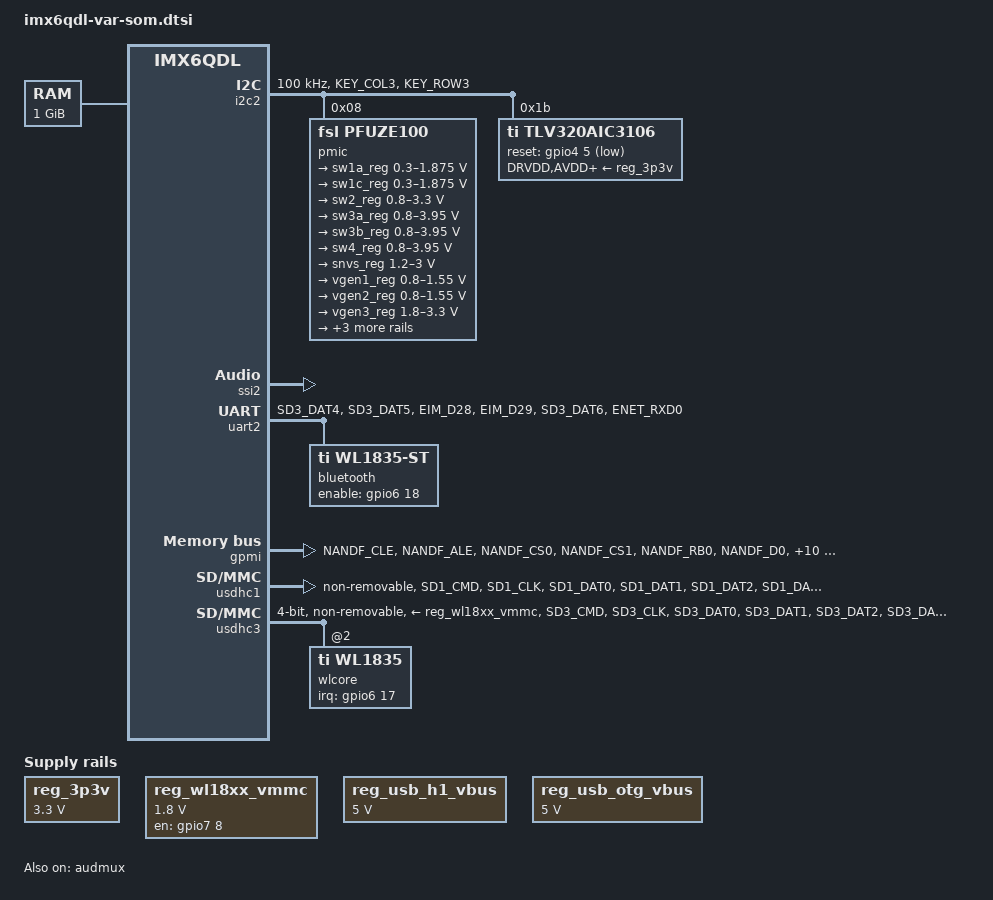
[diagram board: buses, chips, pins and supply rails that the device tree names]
// SPDX-License-Identifier: (GPL-2.0+ OR MIT)
/*
 * Support for Variscite SOM Module
 *
 * Copyright 2018
 * Author: Andreas Müller <schnitzeltony@gmail.com>
 * Based on imx6qdl-var-dart.dtsi
 */

#include <dt-bindings/gpio/gpio.h>
#include <dt-bindings/sound/fsl-imx-audmux.h>

/ {
	memory@10000000 {
		reg = <0x10000000 0x40000000>;
	};

	reg_3p3v: regulator-3p3v {
		compatible = "regulator-fixed";
		regulator-name = "3P3V";
		regulator-min-microvolt = <3300000>;
		regulator-max-microvolt = <3300000>;
		regulator-always-on;
	};

	reg_wl18xx_vmmc: regulator-wl18xx {
		compatible = "regulator-fixed";
		regulator-name = "vwl1807";
		regulator-min-microvolt = <1800000>;
		regulator-max-microvolt = <1800000>;
		gpio = <&gpio7 8 GPIO_ACTIVE_HIGH>;
		enable-active-high;
		startup-delay-us = <70000>;
	};

	reg_usb_h1_vbus: regulator-usbh1vbus {
		compatible = "regulator-fixed";
		regulator-name = "usb_h1_vbus";
		regulator-min-microvolt = <5000000>;
		regulator-max-microvolt = <5000000>;
	};

	reg_usb_otg_vbus: regulator-usbotgvbus {
		compatible = "regulator-fixed";
		regulator-name = "usb_otg_vbus";
		regulator-min-microvolt = <5000000>;
		regulator-max-microvolt = <5000000>;
	};
};

&iomuxc {
	pinctrl_audmux: audmux {
		fsl,pins = <
			MX6QDL_PAD_CSI0_DAT7__AUD3_RXD		0x130b0
			MX6QDL_PAD_CSI0_DAT4__AUD3_TXC		0x130b0
			MX6QDL_PAD_CSI0_DAT5__AUD3_TXD		0x110b0
			MX6QDL_PAD_CSI0_DAT6__AUD3_TXFS		0x130b0
			/* Audio Clock */
			MX6QDL_PAD_GPIO_0__CCM_CLKO1		0x130b0
			/* Audio reset */
			MX6QDL_PAD_GPIO_19__GPIO4_IO05		0x178b0
		>;
	};

	pinctrl_bt: bt {
		fsl,pins = <
			/* Bluetooth / Wifi enable */
			MX6QDL_PAD_SD3_DAT6__GPIO6_IO18		0x1b0b1
			/* Bluetooth Slow Clock */
			MX6QDL_PAD_ENET_RXD0__OSC32K_32K_OUT	0x000b0
		>;
	};

	pinctrl_ecspi3: ecspi3grp {
		fsl,pins = <
			MX6QDL_PAD_DISP0_DAT2__ECSPI3_MISO	0x100b1
			MX6QDL_PAD_DISP0_DAT1__ECSPI3_MOSI	0x100b1
			MX6QDL_PAD_DISP0_DAT0__ECSPI3_SCLK	0x100b1
			MX6QDL_PAD_DISP0_DAT3__GPIO4_IO24	0x178b0 /* CS */
		>;
	};

	pinctrl_enet: enetgrp {
		fsl,pins = <
			MX6QDL_PAD_ENET_MDIO__ENET_MDIO		0x100b0
			MX6QDL_PAD_ENET_MDC__ENET_MDC		0x100b0
			MX6QDL_PAD_RGMII_TXC__RGMII_TXC		0x10030
			MX6QDL_PAD_RGMII_TD0__RGMII_TD0		0x10030
			MX6QDL_PAD_RGMII_TD1__RGMII_TD1		0x10030
			MX6QDL_PAD_RGMII_TD2__RGMII_TD2		0x10030
			MX6QDL_PAD_RGMII_TD3__RGMII_TD3		0x10030
			MX6QDL_PAD_RGMII_TX_CTL__RGMII_TX_CTL	0x10030
			MX6QDL_PAD_ENET_REF_CLK__ENET_TX_CLK	0x100b0
			MX6QDL_PAD_RGMII_RXC__RGMII_RXC		0x1b030
			MX6QDL_PAD_RGMII_RD0__RGMII_RD0		0x1b030
			MX6QDL_PAD_RGMII_RD1__RGMII_RD1		0x1b030
			MX6QDL_PAD_RGMII_RD2__RGMII_RD2		0x1b030
			MX6QDL_PAD_RGMII_RD3__RGMII_RD3		0x1b030
			MX6QDL_PAD_RGMII_RX_CTL__RGMII_RX_CTL	0x1b030
		>;
	};

	pinctrl_flexcan1: flexcan1grp {
		fsl,pins = <
			MX6QDL_PAD_GPIO_7__FLEXCAN1_TX	0x1b0b0
			MX6QDL_PAD_GPIO_8__FLEXCAN1_RX	0x1b0b0
		>;
	};

	pinctrl_flexcan2: flexcan2grp {
		fsl,pins = <
			MX6QDL_PAD_KEY_COL4__FLEXCAN2_TX	0x1b0b0
			MX6QDL_PAD_KEY_ROW4__FLEXCAN2_RX	0x1b0b0
		>;
	};

	pinctrl_hdmicec: hdmicecgrp {
		fsl,pins = <
			MX6QDL_PAD_KEY_ROW2__HDMI_TX_CEC_LINE	0x1f8b0
		>;
	};

	pinctrl_i2c1: i2c1grp {
		fsl,pins = <
			MX6QDL_PAD_CSI0_DAT8__I2C1_SDA	0x4001b8b1
			MX6QDL_PAD_CSI0_DAT9__I2C1_SCL	0x4001b8b1
		>;
	};

	pinctrl_i2c2: i2c2grp {
		fsl,pins = <
			MX6QDL_PAD_KEY_COL3__I2C2_SCL	0x4001b8b1
			MX6QDL_PAD_KEY_ROW3__I2C2_SDA	0x4001b8b1
		>;
	};

	pinctrl_i2c3: i2c3grp {
		fsl,pins = <
			MX6QDL_PAD_GPIO_5__I2C3_SCL	0x4001b8b1
			MX6QDL_PAD_GPIO_16__I2C3_SDA	0x4001b8b1
		>;
	};

	pinctrl_pmic: pmicgrp {
		fsl,pins = <
			/* PMIC INT */
			MX6QDL_PAD_GPIO_17__GPIO7_IO12	0x1b0b1
		>;
	};

	pinctrl_pwm2: pwm2grp {
		fsl,pins = <
			MX6QDL_PAD_DISP0_DAT9__PWM2_OUT	0x1b0b1
		>;
	};

	pinctrl_uart1: uart1grp {
		fsl,pins = <
			MX6QDL_PAD_CSI0_DAT10__UART1_TX_DATA 0x1b0b1
			MX6QDL_PAD_CSI0_DAT11__UART1_RX_DATA 0x1b0b1
		>;
	};

	pinctrl_uart2: uart2grp {
		fsl,pins = <
			MX6QDL_PAD_SD3_DAT4__UART2_RX_DATA	0x1b0b1
			MX6QDL_PAD_SD3_DAT5__UART2_TX_DATA	0x1b0b1
			MX6QDL_PAD_EIM_D28__UART2_CTS_B		0x1b0b1
			MX6QDL_PAD_EIM_D29__UART2_RTS_B		0x1b0b1
		>;
	};

	pinctrl_uart3: uart3grp {
		fsl,pins = <
			MX6QDL_PAD_EIM_D25__UART3_RX_DATA 0x1b0b1
			MX6QDL_PAD_EIM_D24__UART3_TX_DATA 0x1b0b1
			MX6QDL_PAD_EIM_D23__UART3_CTS_B   0x1b0b1
			MX6QDL_PAD_EIM_EB3__UART3_RTS_B   0x1b0b1
		>;
	};

	pinctrl_usbotg: usbotggrp {
		fsl,pins = <
			MX6QDL_PAD_GPIO_4__GPIO1_IO04 		0x17059
		>;
	};

	pinctrl_usdhc1: usdhc1grp {
		fsl,pins = <
			MX6QDL_PAD_SD1_CMD__SD1_CMD	0x17059
			MX6QDL_PAD_SD1_CLK__SD1_CLK	0x10059
			MX6QDL_PAD_SD1_DAT0__SD1_DATA0	0x17059
			MX6QDL_PAD_SD1_DAT1__SD1_DATA1	0x17059
			MX6QDL_PAD_SD1_DAT2__SD1_DATA2	0x17059
			MX6QDL_PAD_SD1_DAT3__SD1_DATA3	0x17059
		>;
	};

	pinctrl_usdhc2: usdhc2grp {
		fsl,pins = <
			MX6QDL_PAD_SD2_CMD__SD2_CMD	0x17059
			MX6QDL_PAD_SD2_CLK__SD2_CLK	0x10059
			MX6QDL_PAD_SD2_DAT0__SD2_DATA0	0x17059
			MX6QDL_PAD_SD2_DAT1__SD2_DATA1	0x17059
			MX6QDL_PAD_SD2_DAT2__SD2_DATA2	0x17059
			MX6QDL_PAD_SD2_DAT3__SD2_DATA3	0x17059
		>;
	};

	pinctrl_usdhc3: usdhc3grp {
		fsl,pins = <
			MX6QDL_PAD_SD3_CMD__SD3_CMD	0x17059
			MX6QDL_PAD_SD3_CLK__SD3_CLK	0x10059
			MX6QDL_PAD_SD3_DAT0__SD3_DATA0	0x17059
			MX6QDL_PAD_SD3_DAT1__SD3_DATA1	0x17059
			MX6QDL_PAD_SD3_DAT2__SD3_DATA2	0x17059
			MX6QDL_PAD_SD3_DAT3__SD3_DATA3	0x17059
			/* WL_EN */
			MX6QDL_PAD_SD3_DAT7__GPIO6_IO17 0x13059
			/* WL_IRQ */
			MX6QDL_PAD_SD3_RST__GPIO7_IO08  0x13059
		>;
	};

	pinctrl_usdhc3_100mhz: usdhc3grp100mhz {
		fsl,pins = <
			MX6QDL_PAD_SD3_CMD__SD3_CMD	0x170B9
			MX6QDL_PAD_SD3_CLK__SD3_CLK	0x100B9
			MX6QDL_PAD_SD3_DAT0__SD3_DATA0	0x170B9
			MX6QDL_PAD_SD3_DAT1__SD3_DATA1	0x170B9
			MX6QDL_PAD_SD3_DAT2__SD3_DATA2	0x170B9
			MX6QDL_PAD_SD3_DAT3__SD3_DATA3	0x170B9
			/* WL_EN */
			MX6QDL_PAD_SD3_DAT7__GPIO6_IO17 0x130B9
			/* WL_IRQ */
			MX6QDL_PAD_SD3_RST__GPIO7_IO08  0x130B9
		>;
	};

	pinctrl_usdhc3_200mhz: usdhc3grp200mhz {
		fsl,pins = <
			MX6QDL_PAD_SD3_CMD__SD3_CMD	0x170F9
			MX6QDL_PAD_SD3_CLK__SD3_CLK	0x100F9
			MX6QDL_PAD_SD3_DAT0__SD3_DATA0	0x170F9
			MX6QDL_PAD_SD3_DAT1__SD3_DATA1	0x170F9
			MX6QDL_PAD_SD3_DAT2__SD3_DATA2	0x170F9
			MX6QDL_PAD_SD3_DAT3__SD3_DATA3	0x170F9
			/* WL_EN */
			MX6QDL_PAD_SD3_DAT7__GPIO6_IO17 0x130F9
			/* WL_IRQ */
			MX6QDL_PAD_SD3_RST__GPIO7_IO08  0x130F9
		>;
	};

	pinctrl_gpmi_nand: gpmi-nand {
		fsl,pins = <
			MX6QDL_PAD_NANDF_CLE__NAND_CLE		0xb0b1
			MX6QDL_PAD_NANDF_ALE__NAND_ALE		0xb0b1
			MX6QDL_PAD_NANDF_CS0__NAND_CE0_B	0xb0b1
			MX6QDL_PAD_NANDF_CS1__NAND_CE1_B	0xb0b1
			MX6QDL_PAD_NANDF_RB0__NAND_READY_B	0xb0b1
			MX6QDL_PAD_NANDF_D0__NAND_DATA00	0xb0b1
			MX6QDL_PAD_NANDF_D1__NAND_DATA01	0xb0b1
			MX6QDL_PAD_NANDF_D2__NAND_DATA02	0xb0b1
			MX6QDL_PAD_NANDF_D3__NAND_DATA03	0xb0b1
			MX6QDL_PAD_NANDF_D4__NAND_DATA04	0xb0b1
			MX6QDL_PAD_NANDF_D5__NAND_DATA05	0xb0b1
			MX6QDL_PAD_NANDF_D6__NAND_DATA06	0xb0b1
			MX6QDL_PAD_NANDF_D7__NAND_DATA07	0xb0b1
			MX6QDL_PAD_SD4_CMD__NAND_RE_B		0xb0b1
			MX6QDL_PAD_SD4_CLK__NAND_WE_B		0xb0b1
			MX6QDL_PAD_NANDF_WP_B__NAND_WP_B	0xb0b1
		>;
	};
};

&audmux {
	pinctrl-names = "default";
	pinctrl-0 = <&pinctrl_audmux>;
	status = "okay";

	ssi2 {
		fsl,audmux-port = <1>;
		fsl,port-config = <
			(IMX_AUDMUX_V2_PTCR_SYN |
			IMX_AUDMUX_V2_PTCR_TFSDIR |
			IMX_AUDMUX_V2_PTCR_TFSEL(2) |
			IMX_AUDMUX_V2_PTCR_TCLKDIR |
			IMX_AUDMUX_V2_PTCR_TCSEL(2))
			IMX_AUDMUX_V2_PDCR_RXDSEL(2)
		>;
	};

	aud3 {
		fsl,audmux-port = <2>;
		fsl,port-config = <
			IMX_AUDMUX_V2_PTCR_SYN
			IMX_AUDMUX_V2_PDCR_RXDSEL(1)
		>;
	};
};

&can1 {
	pinctrl-names = "default";
	pinctrl-0 = <&pinctrl_flexcan1>;
	status = "disabled";
};

&can2 {
	pinctrl-names = "default";
	pinctrl-0 = <&pinctrl_flexcan2>;
	status = "disabled";
};

&ecspi3 {
	pinctrl-names = "default";
	fsl,spi-num-chipselects = <1>;
	pinctrl-0 = <&pinctrl_ecspi3>;
	cs-gpios = <&gpio4 24 0>;
	status = "disabled";
};

&fec {
	pinctrl-names = "default";
	pinctrl-0 = <&pinctrl_enet>;
	phy-mode = "rgmii";
	phy-reset-gpios = <&gpio1 25 0>;
	phy-reset-duration=<100>;
	status = "disabled";
};

&hdmi {
	pinctrl-names = "default";
	pinctrl-0 = <&pinctrl_hdmicec>;
	ddc-i2c-bus = <&i2c2>;
	status = "disabled";
};

&i2c1 {
	pinctrl-names = "default";
	pinctrl-0 = <&pinctrl_i2c1>;
	status = "disabled";
};

&i2c2 {
	clock-frequency = <100000>;
	pinctrl-names = "default";
	pinctrl-0 = <&pinctrl_i2c2>;
	status = "okay";

	pmic@8 {
		pinctrl-names = "default";
		pinctrl-0 = <&pinctrl_pmic>;
		compatible = "fsl,pfuze100";
		reg = <0x08>;

		regulators {
			sw1a_reg: sw1ab {
				regulator-min-microvolt = <300000>;
				regulator-max-microvolt = <1875000>;
				regulator-boot-on;
				regulator-always-on;
				regulator-ramp-delay = <6250>;
			};

			sw1c_reg: sw1c {
				regulator-min-microvolt = <300000>;
				regulator-max-microvolt = <1875000>;
				regulator-boot-on;
				regulator-always-on;
				regulator-ramp-delay = <6250>;
			};

			sw2_reg: sw2 {
				regulator-min-microvolt = <800000>;
				regulator-max-microvolt = <3300000>;
				regulator-boot-on;
				regulator-always-on;
			};

			sw3a_reg: sw3a {
				regulator-min-microvolt = <800000>;
				regulator-max-microvolt = <3950000>;
				regulator-boot-on;
				regulator-always-on;
			};

			sw3b_reg: sw3b {
				regulator-min-microvolt = <800000>;
				regulator-max-microvolt = <3950000>;
				regulator-boot-on;
				regulator-always-on;
			};

			sw4_reg: sw4 {
				regulator-min-microvolt = <800000>;
				regulator-max-microvolt = <3950000>;
			};

			snvs_reg: vsnvs {
				regulator-min-microvolt = <1200000>;
				regulator-max-microvolt = <3000000>;
				regulator-boot-on;
				regulator-always-on;
			};

			vref_reg: vrefddr {
				regulator-boot-on;
				regulator-always-on;
			};

			vgen1_reg: vgen1 {
				regulator-min-microvolt = <800000>;
				regulator-max-microvolt = <1550000>;
			};

			vgen2_reg: vgen2 {
				regulator-min-microvolt = <800000>;
				regulator-max-microvolt = <1550000>;
			};

			vgen3_reg: vgen3 {
				regulator-min-microvolt = <1800000>;
				regulator-max-microvolt = <3300000>;
				regulator-always-on;
				regulator-boot-on;
			};

			vgen4_reg: vgen4 {
				regulator-min-microvolt = <1800000>;
				regulator-max-microvolt = <3300000>;
				regulator-always-on;
				regulator-boot-on;
			};

			vgen5_reg: vgen5 {
				regulator-min-microvolt = <1800000>;
				regulator-max-microvolt = <3300000>;
				regulator-always-on;
				regulator-boot-on;
			};

			vgen6_reg: vgen6 {
				regulator-min-microvolt = <2800000>;
				regulator-max-microvolt = <2800000>;
				regulator-always-on;
				regulator-boot-on;
			};
		};
	};

	tlv320aic3106: codec@1b {
		compatible = "ti,tlv320aic3106";
		reg = <0x1b>;
		#sound-dai-cells = <0>;
		DRVDD-supply = <&reg_3p3v>;
		AVDD-supply = <&reg_3p3v>;
		IOVDD-supply = <&reg_3p3v>;
		DVDD-supply = <&reg_3p3v>;
		ai3x-ocmv = <0>;
		reset-gpios = <&gpio4 5 GPIO_ACTIVE_LOW>;
		ai3x-gpio-func = <
			0 /* AIC3X_GPIO1_FUNC_DISABLED */
			5 /* AIC3X_GPIO2_FUNC_DIGITAL_MIC_INPUT */
		>;
	};
};

&i2c3 {
	pinctrl-names = "default";
	pinctrl-0 = <&pinctrl_i2c3>;
	status = "disabled";
};

&pcie {
	fsl,tx-swing-full = <103>;
	fsl,tx-swing-low = <103>;
	reset-gpio = <&gpio4 11 GPIO_ACTIVE_LOW>;
	status = "disabled";
};

&pwm2 {
	pinctrl-names = "default";
	pinctrl-0 = <&pinctrl_pwm2>;
	status = "disabled";
};

&reg_arm {
	vin-supply = <&sw1a_reg>;
};

&reg_pu {
	vin-supply = <&sw1c_reg>;
};

&reg_soc {
	vin-supply = <&sw1c_reg>;
};

&snvs_poweroff {
	status = "okay";
};

&ssi2 { /* Onboard audio */
	fsl,mode = "i2s-slave";
	status = "okay";
};

&uart1 { /* Console */
	pinctrl-names = "default";
	pinctrl-0 = <&pinctrl_uart1>;
	status = "disabled";
};

&uart2 { /* Bluetooth */
	pinctrl-names = "default";
	pinctrl-0 = <&pinctrl_uart2 &pinctrl_bt>;
	uart-has-rtscts;
	status = "okay";

	bluetooth {
		compatible = "ti,wl1835-st";
		enable-gpios = <&gpio6 18 GPIO_ACTIVE_HIGH>;
	};
};

&uart3 {
	pinctrl-names = "default";
	pinctrl-0 = <&pinctrl_uart3>;
	uart-has-rtscts;
	status = "disabled";
};

&usbh1 {
	vbus-supply = <&reg_usb_h1_vbus>;
	status = "disabled";
};

&usbotg {
	vbus-supply = <&reg_usb_otg_vbus>;
	pinctrl-names = "default";
	pinctrl-0 = <&pinctrl_usbotg>;
	disable-over-current;
	status = "disabled";
};

&gpmi { /* NAND */
	pinctrl-names = "default";
	pinctrl-0 = <&pinctrl_gpmi_nand>;
	fsl,legacy-bch-geometry;
	status = "okay";

	/* a 2 MiB partition */
	partition@0 {
		label = "spl";
		reg = <0x00000000 0x00200000>;
	};

	/* a 2 MiB partition */
	partition@1 {
		label = "bootloader";
		reg = <0x00200000 0x00200000>;
	};

	/* an 8 MiB partition */
	partition@2 {
		label = "kernel";
		reg = <0x00400000 0x00800000>;
	};

	/* max 1012 MiB partition - truncated automatically */
	partition@3 {
		label = "rootfs";
		reg = <0x00c00000 0x3f400000>;
	};
};

&usdhc1 { /* eMMC */
	pinctrl-names = "default";
	pinctrl-0 = <&pinctrl_usdhc1>;
	keep-power-in-suspend;
	wakeup-source;
	non-removable;
	status = "okay";
};

&usdhc2 { /* MMC/SD card */
	pinctrl-names = "default";
	pinctrl-0 = <&pinctrl_usdhc2>;
	no-1-8-v;
	keep-power-in-suspend;
	wakeup-source;
	status = "disabled";
};

&usdhc3 { /* Wilink8 WL18xx*/
	pinctrl-names = "default", "state_100mhz", "state_200mhz";
	pinctrl-0 = <&pinctrl_usdhc3>;
	pinctrl-1 = <&pinctrl_usdhc3_100mhz>;
	pinctrl-2 = <&pinctrl_usdhc3_200mhz>;

	non-removable;
	keep-power-in-suspend;
	wakeup-source;
	bus-width = <4>;
	vmmc-supply = <&reg_wl18xx_vmmc>;
	non-removable;
	wakeup-source;
	keep-power-in-suspend;
	cap-power-off-card;
	#address-cells = <1>;
	#size-cells = <0>;
	status = "okay";

	wlcore: wlcore@2 {
		compatible = "ti,wl1835";
		reg = <2>;
		interrupt-parent = <&gpio6>;
		interrupts = <17 IRQ_TYPE_LEVEL_HIGH>;
		ref-clock-frequency = <38400000>;
	};
};

&snvs_rtc {
	status = "disabled";
};
